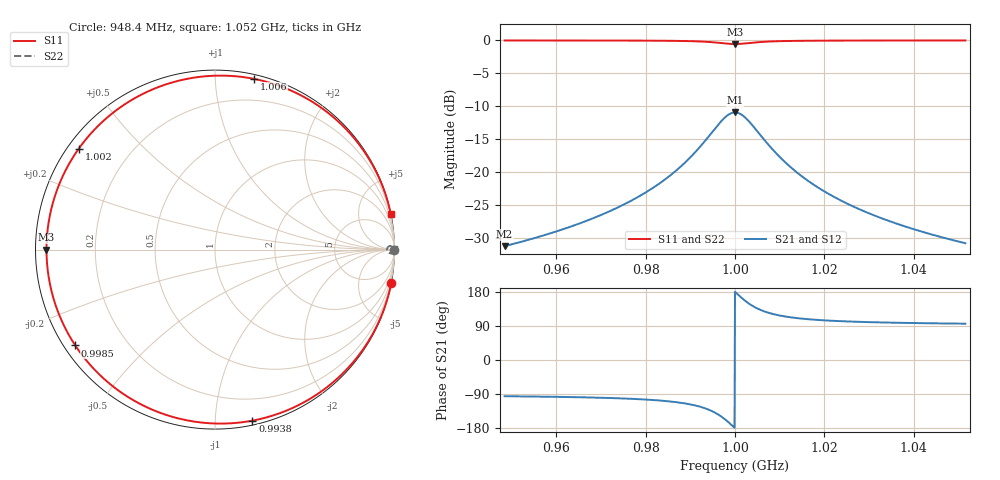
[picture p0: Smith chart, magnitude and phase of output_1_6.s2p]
! File generated for n1 = 1, n2 = 6
! b1 = 100.000000
! b2 = 2.154435
! Q0 = 10000.000000
! f0 = 1000000000.000000
! n = 1001
! rel_span = 10.000000
# Hz S RI R 50
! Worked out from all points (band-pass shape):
!   1001 points, 948.4 MHz to 1.052 GHz, reference 50 ohm
!   highest |S21| = -10.92 dB at 1 GHz (marker M1); lowest = -31.2 dB at 948.4 MHz (marker M2)
!   |S21| within 3 dB of the highest: 994.9 MHz to 1.005 GHz (10.29 MHz wide, 1.03 % of centre)
!   lowest |S11| = -0.5 dB at 1 GHz (marker M3), VSWR 31.70, Z = 1.58 + j0 ohm
!   |S11| at or under -10 dB: nowhere
!   |S22| runs from -0.4 to 0.0 dB; largest |S21 - S12| = 0
!   S11 on the Smith chart (normalised r, x): 948.4 MHz: 0, -11; 993.8 MHz: 0.03, -1.24; 998.5 MHz: 0.03, -0.31; 1.002 GHz: 0.03, +0.33; 1.006 GHz: 0.03, +1.25; 1.052 GHz: 0, +10
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9.484228e8  0.9818 -0.187  -0.00267 -0.0274  -0.00267 -0.0274  0.9996 -0.00403
9.656496e8  0.9587 -0.2799  -0.00606 -0.0411  -0.00606 -0.0411  0.9991 -0.00603
9.754492e8  0.92 -0.3857  -0.0117 -0.0566  -0.0117 -0.0566  0.9983 -0.00831
9.828764e8  0.8413 -0.5315  -0.0233 -0.078  -0.0233 -0.078  0.9966 -0.0115
9.894782e8  0.6276 -0.7638  -0.0547 -0.1121  -0.0547 -0.1121  0.992 -0.0165
9.918508e8  0.4487 -0.8746  -0.0809 -0.1284  -0.0809 -0.1284  0.9881 -0.0188
9.938107e8  0.2083 -0.953  -0.1162 -0.1399  -0.1162 -0.1399  0.9829 -0.0205
9.963896e8  -0.2997 -0.9114  -0.1908 -0.1338  -0.1908 -0.1338  0.972 -0.0196
9.974211e8  -0.5503 -0.7761  -0.2275 -0.1139  -0.2275 -0.1139  0.9666 -0.0167
9.984527e8  -0.7785 -0.534  -0.2611 -0.0784  -0.2611 -0.0784  0.9617 -0.0115
1e9  -0.9388 0  -0.2846 0  -0.2846 0  0.9582 0
1.000825e9  -0.8905 0.3024  -0.2775 0.0444  -0.2775 0.0444  0.9593 0.00651
1.00165e9  -0.759 0.5624  -0.2582 0.0826  -0.2582 0.0826  0.9621 0.0121
1.002579e9  -0.5519 0.7749  -0.2278 0.1137  -0.2278 0.1137  0.9666 0.0167
1.00361e9  -0.3028 0.9103  -0.1912 0.1336  -0.1912 0.1336  0.9719 0.0196
1.004745e9  -0.0523 0.9659  -0.1545 0.1418  -0.1545 0.1418  0.9773 0.0208
1.006292e9  0.2179 0.9511  -0.1148 0.1396  -0.1148 0.1396  0.9832 0.0205
1.008252e9  0.4522 0.873  -0.0804 0.1281  -0.0804 0.1281  0.9882 0.0188
1.010625e9  0.6271 0.7642  -0.0547 0.1122  -0.0547 0.1122  0.992 0.0165
1.017227e9  0.838 0.5365  -0.0238 0.0788  -0.0238 0.0788  0.9965 0.0116
1.034454e9  0.9561 0.2885  -0.00645 0.0423  -0.00645 0.0423  0.9991 0.00622
1.051577e9  0.9798 0.1967  -0.00296 0.0289  -0.00296 0.0289  0.9996 0.00424
